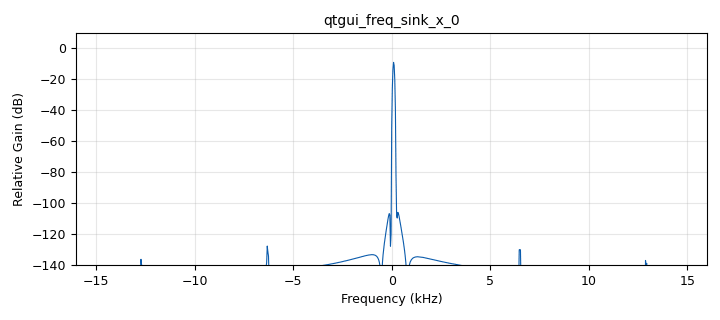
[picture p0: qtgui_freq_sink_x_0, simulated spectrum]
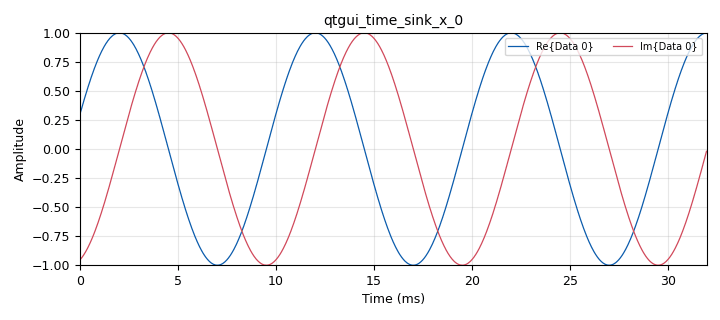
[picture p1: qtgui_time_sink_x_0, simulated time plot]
options:
  parameters:
    author: estudiante
    generate_options: qt_gui
    id: Lab_comu
    output_language: python
    title: Primer Flujograma
  states: {}

blocks:
- name: amplitude
  id: variable_qtgui_range
  parameters:
    label: Amplitude
    start: '0'
    step: '0.1'
    stop: '5'
    value: '1'
  states: {}
- name: frecuency
  id: variable_qtgui_range
  parameters:
    label: FRecuency in Hz
    start: '0'
    step: '100'
    stop: 1e4
    value: 1e3
  states: {}
- name: frequency
  id: variable
  parameters:
    value: '100'
  states: {}
- name: offset
  id: variable_qtgui_range
  parameters:
    label: Offset
    start: '-5'
    step: '0.1'
    stop: '5'
    value: '0'
  states: {}
- name: samp_rate
  id: variable
  parameters:
    value: '32000'
  states: {}
- name: waveform
  id: variable_qtgui_chooser
  parameters:
    label: Waveform
    labels: '["Constant", "Sine", "Cosine", "Square", "Triangle", "Saw Tooth"]'
    num_opts: '0'
    options: '[100, 101, 102, 103, 104, 105]'
    type: raw
    value: '102'
  states: {}
- name: analog_sig_source_x_0
  id: analog_sig_source_x
  parameters:
    amp: '1'
    freq: frequency
    offset: '0'
    phase: '0'
    samp_rate: samp_rate
    type: complex
    waveform: analog.GR_COS_WAVE
  states: {}
- name: blocks_throttle2_0
  id: blocks_throttle2
  parameters:
    samples_per_second: samp_rate
    type: complex
  states: {}
- name: qtgui_freq_sink_x_0
  id: qtgui_freq_sink_x
  parameters:
    bw: samp_rate
    fc: '0'
    fftsize: '1024'
    type: complex
  states: {}
- name: qtgui_time_sink_x_0
  id: qtgui_time_sink_x
  parameters:
    size: '1024'
    srate: samp_rate
    type: complex
  states: {}

connections:
- [analog_sig_source_x_0, '0', blocks_throttle2_0, '0']
- [blocks_throttle2_0, '0', qtgui_freq_sink_x_0, '0']
- [blocks_throttle2_0, '0', qtgui_time_sink_x_0, '0']

metadata:
  file_format: 1
  grc_version: v3.10.11.0-89-ga17f69e7
